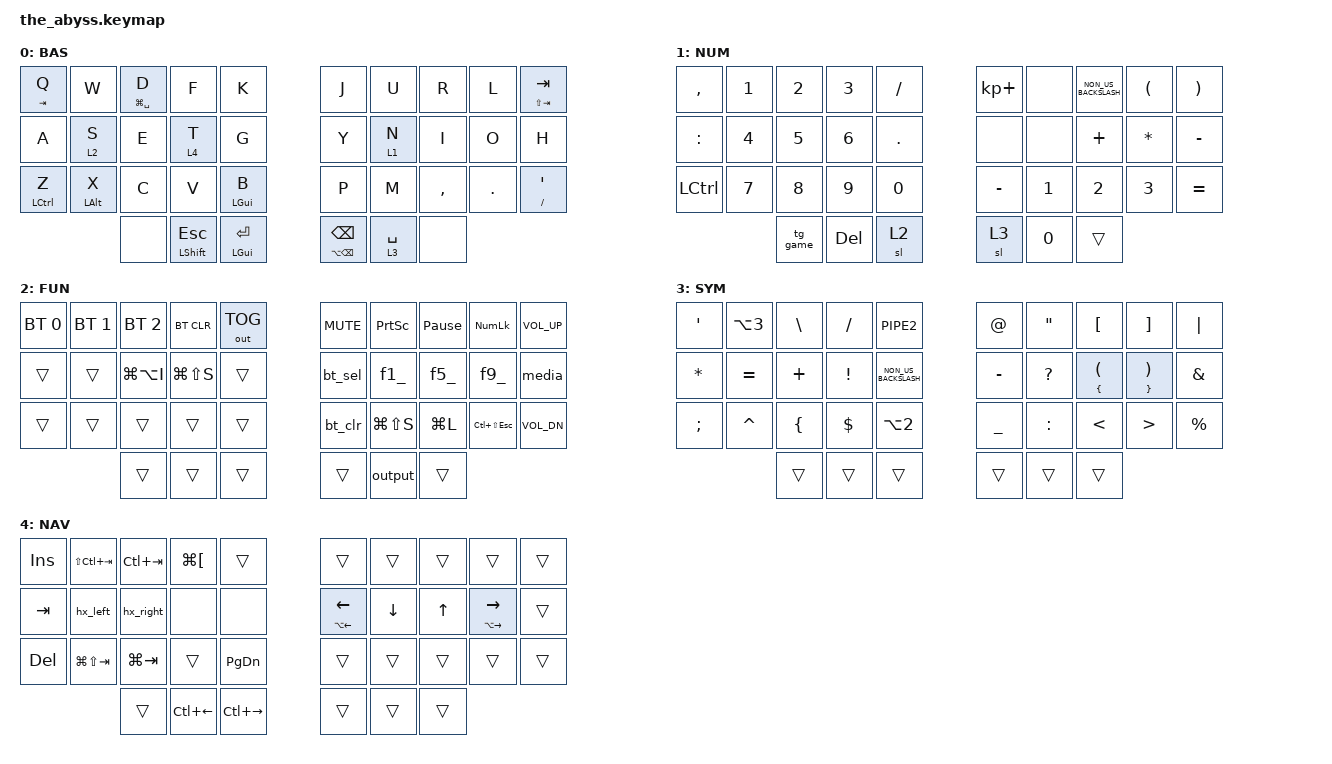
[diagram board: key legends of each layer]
// vim: set ft=dts:

#include <behaviors.dtsi>
#include <dt-bindings/zmk/bt.h>
#include <dt-bindings/zmk/keys.h>
#include <dt-bindings/zmk/outputs.h>

#define BAS 0
#define GA1 1
#define GA2 2
#define GA3 3
#define NUM 4
#define FUN 5
#define SYM 6
#define NAV 7
#define SCNSHT  LG(LS(S))
#define TSK_MGR LC(LS(ESC))

/ {
    keymap {
        compatible = "zmk,keymap";

        base_layer {
            label = "BAS";
            bindings = <
&mt TAB Q    &kp W           &mt LG(SPACE) D  &kp F                  &kp K               &kp J                        &kp U        &kp R      &kp L    &mt LS(TAB) TAB
&kp A        &lt 2 S         &kp E            &lt 4 T                &kp G               &kp Y                        &lt 1 N      &kp I      &kp O    &kp H
&mt LCTRL Z  &mt LEFT_ALT X  &kp C            &kp V                  &mt LEFT_GUI B      &kp P                        &kp M        &kp COMMA  &kp DOT  &mt SLASH SQT
                             &none            &mt LEFT_SHIFT ESCAPE  &mt LEFT_GUI ENTER  &mt LA(BACKSPACE) BACKSPACE  &lt 3 SPACE  &none
            >;
        };

        number_layer {
            label = "NUM";
            bindings = <
&kp COMMA         &kp NUMBER_1  &kp NUMBER_2  &kp NUMBER_3  &kp SLASH   &kp KP_PLUS  &none   &kp NON_US_BACKSLASH  &kp LEFT_PARENTHESIS  &kp RIGHT_PARENTHESIS
&kp COLON         &kp NUMBER_4  &kp N5        &kp NUMBER_6  &kp PERIOD  &none        &none   &kp PLUS              &kp ASTERISK          &kp MINUS
&kp LEFT_CONTROL  &kp N7        &kp N8        &kp N9        &kp N0      &kp MINUS    &kp N1  &kp N2                &kp N3                &kp EQUAL
                                &tg_game      &kp DEL       &sl 2       &sl 3        &kp N0  &trans
            >;
        };

        function_layer {
            label = "FUN";
            bindings = <
&bt BT_SEL 0  &bt BT_SEL 1  &bt BT_SEL 2  &bt BT_CLR  &out OUT_TOG  &kp C_MUTE  &kp PSCRN   &kp PAUSE_BREAK  &kp KP_NUMLOCK  &kp C_VOL_UP
&trans        &trans        &kp LG(LA(I))  &kp SCNSHT  &trans        &bt_sel     &f1_        &f5_             &f9_            &media
&trans        &trans        &trans        &trans       &trans        &bt_clr     &kp SCNSHT  &kp LG(L)        &kp TSK_MGR     &kp C_VOL_DN
                            &trans        &trans       &trans        &trans      &output     &trans
            >;
        };

        symbol_layer {
            label = "SYM";
            bindings = <
&kp SQT       &kp LA(N3)  &kp BACKSLASH          &kp SLASH        &kp PIPE2         &kp AT_SIGN     &kp DOUBLE_QUOTES  &kp LEFT_BRACKET                 &kp RIGHT_BRACKET                  &kp PIPE
&kp ASTERISK  &kp EQUAL  &kp PLUS              &kp EXCLAMATION  &kp NON_US_BACKSLASH  &kp MINUS       &kp QUESTION       &mt LEFT_BRACE LEFT_PARENTHESIS  &mt RIGHT_BRACE RIGHT_PARENTHESIS  &kp AMPERSAND
&kp SEMI      &kp CARET  &kp LBRC              &kp DOLLAR       &kp LA(NUMBER_2)  &kp UNDERSCORE  &kp COLON          &kp LESS_THAN                    &kp GREATER_THAN                   &kp PERCENT
                         &trans                &trans           &trans            &trans          &trans             &trans
            >;
        };

        navigation_layer {
            label = "NAV";
            bindings = <
&kp INS  &kp LS(LC(TAB))  &kp LC(TAB)  &kp LG(LEFT_BRACKET)  &trans         &trans             &trans    &trans  &trans               &trans
&kp TAB  &hx_left         &hx_right    &none                 &none          &mt LA(LEFT) LEFT  &kp DOWN  &kp UP  &mt LA(RIGHT) RIGHT  &trans
&kp DEL  &kp LG(LS(TAB))  &kp LG(TAB)  &trans                &kp PG_DN      &trans             &trans    &trans  &trans               &trans
                          &trans       &kp LC(LEFT_ARROW)    &kp LC(RIGHT)  &trans             &trans    &trans
            >;
        };
    };

    /*                KEY POSITIONS

      ╭────────────────────╮ ╭────────────────────╮
      │  0   1   2   3   4 │ │  5   6   7   8   9 │
      │ 10  11  12  13  14 │ │ 15  16  17  18  19 │
      │ 20  21  22  23  24 │ │ 25  26  27  28  29 │
      ╰───────╮ 30  31  32 │ │ 33  34  35 ╭───────╯
              ╰────────────╯ ╰────────────╯        */

    combos {
        compatible = "zmk,combos";

        #define COMBO(NAME, BINDINGS, KEYPOS, TIMEOUT, LAYERS) \
            combo_##NAME { \
                timeout-ms = <TIMEOUT>; \
                bindings = <BINDINGS>; \
                key-positions = <KEYPOS>; \
                layers = <LAYERS>; \
                slow-release; \
            };

        #define DEFAULT_TIME 64
        #define LONG_TIME    128

        #define ALL_LAYERS     BAS GA1 GA2 GA3 NUM FUN SYM NAV NUM NAV
        #define DEFAULT_LAYERS BAS     GA2 GA3 NUM FUN SYM NAV NUM NAV
        #define NONBASE_LAYERS         GA2 GA3 NUM FUN SYM NAV NUM NAV

        COMBO(l_bail    , &bail     , 30 31, DEFAULT_TIME, DEFAULT_LAYERS)
        COMBO(r_bail    , &bail     , 34 35, DEFAULT_TIME, DEFAULT_LAYERS)
        COMBO(tab       , &kp TAB   , 13 31, DEFAULT_TIME, DEFAULT_LAYERS)
        COMBO(del       , &kp DEL   , 16 34, DEFAULT_TIME, DEFAULT_LAYERS)
        COMBO(caps_word , &caps_word, 31 34, DEFAULT_TIME, DEFAULT_LAYERS)

        COMBO(l_sk_ctrl , &sk LCTRL , 13 23, DEFAULT_TIME, DEFAULT_LAYERS)
        COMBO(l_sk_shift, &sk LSHIFT, 12 22, DEFAULT_TIME, DEFAULT_LAYERS)
        COMBO(l_sk_alt  , &sk LALT  , 11 21, DEFAULT_TIME, DEFAULT_LAYERS)
        COMBO(l_win     , &kp LWIN  , 10 20, DEFAULT_TIME, DEFAULT_LAYERS)

        COMBO(r_sk_ctrl , &sk LCTRL , 16 26, DEFAULT_TIME, DEFAULT_LAYERS)
        COMBO(r_sk_shift, &sk RSHIFT, 17 27, DEFAULT_TIME, DEFAULT_LAYERS)
        COMBO(r_sk_alt  , &sk RALT  , 18 28, DEFAULT_TIME, DEFAULT_LAYERS)
        COMBO(r_win     , &kp LWIN  , 19 29, DEFAULT_TIME, DEFAULT_LAYERS)

        COMBO(num_bspc  , &kp BSPC  , 6  16, DEFAULT_TIME, NUM           )
        COMBO(num_comma , &kp COMMA , 7  17, DEFAULT_TIME, NUM           )
        COMBO(num_space , &kp SPACE , 8  18, DEFAULT_TIME, NUM           )
};

behaviors {
    bt_sel: tap_dance_bluetooth_select {
        compatible = "zmk,behavior-tap-dance";
        label = "BLUETOOTH_SELECT";
        #binding-cells = <0>;
        tapping-term-ms = <256>;
        bindings = <&bt BT_SEL 0>, <&bt BT_SEL 1>, <&bt BT_SEL 2>;
    };

    bt_clr: tap_dance_bluetooth_clear {
        compatible = "zmk,behavior-tap-dance";
        label = "BLUETOOTH_CLEAR";
        #binding-cells = <0>;
        tapping-term-ms = <256>;
        bindings = <&trans>, <&bt BT_CLR>;
    };

    tg_game: tg_game {
        compatible = "zmk,behavior-tap-dance";
        label = "TOGGLE_GAME";
        #binding-cells = <0>;
        tapping-term-ms = <512>;
        bindings = <&to 0>, <&to 0>;
    };

    n0_: tap_dance_n0_ {
        compatible = "zmk,behavior-tap-dance";
        label = "TAP_DANCE_N0_N9";
        #binding-cells = <0>;
        tapping-term-ms = <512>;
        bindings =
            <&kp N0>,
            <&kp N1>,
            <&kp N2>,
            <&kp N3>,
            <&kp N4>,
            <&kp N5>,
            <&kp N6>,
            <&kp N7>,
            <&kp N8>,
            <&kp N9>;
    };

    f1_: tap_dance_f1_ {
        compatible = "zmk,behavior-tap-dance";
        label = "TAP_DANCE_F1_F24";
        #binding-cells = <0>;
        tapping-term-ms = <512>;
        bindings =
            <&kp F1>,
            <&kp F2>,
            <&kp F3>,
            <&kp F4>,
            <&kp F5>,
            <&kp F6>,
            <&kp F7>,
            <&kp F8>,
            <&kp F9>,
            <&kp F10>,
            <&kp F11>,
            <&kp F12>,
            <&kp F13>,
            <&kp F14>,
            <&kp F15>,
            <&kp F16>,
            <&kp F17>,
            <&kp F18>,
            <&kp F19>,
            <&kp F20>,
            <&kp F22>,
            <&kp F23>,
            <&kp F24>;
    };

    f5_: tap_dance_f5_ {
        compatible = "zmk,behavior-tap-dance";
        label = "TAP_DANCE_F5_F24";
        #binding-cells = <0>;
        tapping-term-ms = <300>;
        bindings =
            <&kp F5>,
            <&kp F6>,
            <&kp F7>,
            <&kp F8>,
            <&kp F9>,
            <&kp F10>,
            <&kp F11>,
            <&kp F12>,
            <&kp F13>,
            <&kp F14>,
            <&kp F15>,
            <&kp F16>,
            <&kp F17>,
            <&kp F18>,
            <&kp F19>,
            <&kp F20>,
            <&kp F22>,
            <&kp F23>,
            <&kp F24>;
    };

    f9_: tap_dance_f9_ {
        compatible = "zmk,behavior-tap-dance";
        label = "TAP_DANCE_F9_F24";
        #binding-cells = <0>;
        tapping-term-ms = <300>;
        bindings =
            <&kp F9>,
            <&kp F10>,
            <&kp F11>,
            <&kp F12>,
            <&kp F13>,
            <&kp F14>,
            <&kp F15>,
            <&kp F16>,
            <&kp F17>,
            <&kp F18>,
            <&kp F19>,
            <&kp F20>,
            <&kp F22>,
            <&kp F23>,
            <&kp F24>;
    };

    media: tap_dance_media {
        compatible = "zmk,behavior-tap-dance";
        label = "TAP_DANCE_MEDIA";
        #binding-cells = <0>;
        tapping-term-ms = <300>;
        bindings = <&kp C_PP>, <&kp C_NEXT>, <&kp C_PREV>;
    };

    output: tap_output {
        compatible = "zmk,behavior-tap-dance";
        label = "TAP_DANCE_OUTPUT";
        #binding-cells = <0>;
        tapping-term-ms = <300>;
        bindings = <&out OUT_USB>, <&out OUT_BLE>;
    };

    esc_tab: mod_morph_esc_tab {
        compatible = "zmk,behavior-mod-morph";
        label = "ESC_TAB";
        #binding-cells = <0>;
        bindings = <&kp ESC>, <&kp TAB>;

        mods = <(MOD_LALT|MOD_RALT)>;
        keep-mods = <(MOD_LALT|MOD_RALT)>;
    };

    et_l: esc_tab_layer_x {
        compatible = "zmk,behavior-hold-tap";
        label = "ESC_TAB_LAYER";
        #binding-cells = <2>;
        flavor = "balanced";
        tapping-term-ms = <250>;
        bindings = <&mo>, <&esc_tab>;
    };
};

macros {
    // No way to cancel sticky keys so using F24 as a NOOP proxy
    // Bailing out of any sticky keyboard state macro

    bail: macro_bail {
        label = "MACRO_BAIL";
        compatible = "zmk,behavior-macro";
        #binding-cells = <0>;
        bindings = <&macro_tap>, <&kp F24 &to 0>;
    };

    noop: macro_noop {
        label = "MACRO_NOOP";
        compatible = "zmk,behavior-macro";
        #binding-cells = <0>;
        bindings = <&macro_tap>, <&kp F24>;
    };

    hx_left: hx_left {
        compatible = "zmk,behavior-macro";
        #binding-cells = <0>;
        bindings = <&kp LEFT_BRACKET &kp LEFT_BRACKET>;
        label = "HX_LEFT";
    };

    hx_right: hx_right {
        compatible = "zmk,behavior-macro";
        #binding-cells = <0>;
        bindings = <&kp RIGHT_BRACKET &kp RIGHT_BRACKET>;
        label = "HX_RIGHT";
    };
};

};

&sl {
    release-after-ms = <800>;
    no-sticky-after-hold-ms = <400>;
};

&sk {
    release-after-ms = <500>;
    no-sticky-after-hold-ms = <300>;
    quick-release;
};

&lt {
    flavor = "balanced";
    tapping-term-ms = <222>;
};

&caps_word { continue-list = <UNDERSCORE MINUS BSPC>; };

&mt {
    flavor = "tap-preferred";
    tapping-term-ms = <200>;
    quick-tap-ms = <0>;
};

// Empty keymap
// &trans &trans &trans &trans &trans /* */ &trans &trans &trans &trans &trans
// &trans &trans &trans &trans &trans /* */ &trans &trans &trans &trans &trans
// &trans &trans &trans &trans &trans /* */ &trans &trans &trans &trans &trans
//               &trans &trans &trans /* */ &trans &trans &trans
